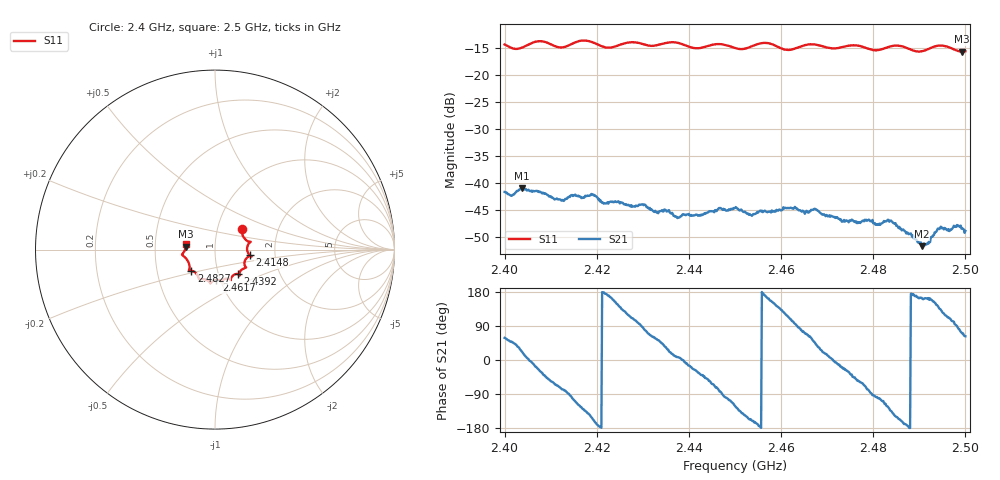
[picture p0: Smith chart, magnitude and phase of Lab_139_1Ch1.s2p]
# Hz S RI R 50
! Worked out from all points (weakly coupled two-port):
!   601 points, 2.4 GHz to 2.5 GHz, reference 50 ohm
!   highest |S21| = -40.94 dB at 2.4037 GHz (marker M1); lowest = -51.7 dB at 2.4905 GHz (marker M2)
!   lowest |S11| = -15.7 dB at 2.4992 GHz (marker M3), VSWR 1.39, Z = 36 + j1.18 ohm
!   |S11| at or under -10 dB: start of sweep to end of sweep
!   S12 and S22 are empty: the file has one direction only
!   S11 on the Smith chart (normalised r, x): 2.4 GHz: 1.31, +0.31; 2.4148 GHz: 1.47, -0.09; 2.4392 GHz: 1.24, -0.35; 2.4617 GHz: 0.96, -0.33; 2.4827 GHz: 0.75, -0.18; 2.5 GHz: 0.72, +0.05
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2.4e9  0.1514 0.1155  0.00433 0.00705  0 0  0 0
2.403667e9  0.1674 0.0591  0.00823 0.00358  0 0  0 0
2.407667e9  0.1995 0.0435  0.00723 -0.0041  0 0  0 0
2.412333e9  0.1785 0.00237  0.00167 -0.00666  0 0  0 0
2.414833e9  0.1923 -0.0309  -0.00168 -0.00739  0 0  0 0
2.416667e9  0.2029 -0.0392  -0.0041 -0.00599  0 0  0 0
2.419333e9  0.1942 -0.0367  -0.00715 -0.00279  0 0  0 0
2.422333e9  0.1674 -0.06  -0.00658 0.000986  0 0  0 0
2.433333e9  0.1368 -0.1301  0.0032 0.00417  0 0  0 0
2.439167e9  0.1283 -0.1363  0.00507 -0.00052  0 0  0 0
2.45e9  0.071 -0.1619  -0.00307 -0.00503  0 0  0 0
2.4535e9  0.0403 -0.1777  -0.00468 -0.00192  0 0  0 0
2.456833e9  0.0437 -0.1915  -0.00526 0.0013  0 0  0 0
2.461667e9  0.00826 -0.1691  -0.00224 0.00542  0 0  0 0
2.466667e9  -0.0263 -0.1894  0.00319 0.00465  0 0  0 0
2.473667e9  -0.0768 -0.1647  0.00423 -0.00171  0 0  0 0
2.482667e9  -0.1318 -0.1177  -0.0019 -0.004  0 0  0 0
2.483333e9  -0.1378 -0.117  -0.00266 -0.0037  0 0  0 0
2.4905e9  -0.1526 -0.0616  -0.00251 0.000709  0 0  0 0
2.4945e9  -0.1839 -0.0286  -0.00268 0.00273  0 0  0 0
2.499167e9  -0.1626 0.016  0.00114 0.00361  0 0  0 0
2.5e9  -0.1618 0.031  0.00166 0.00321  0 0  0 0
